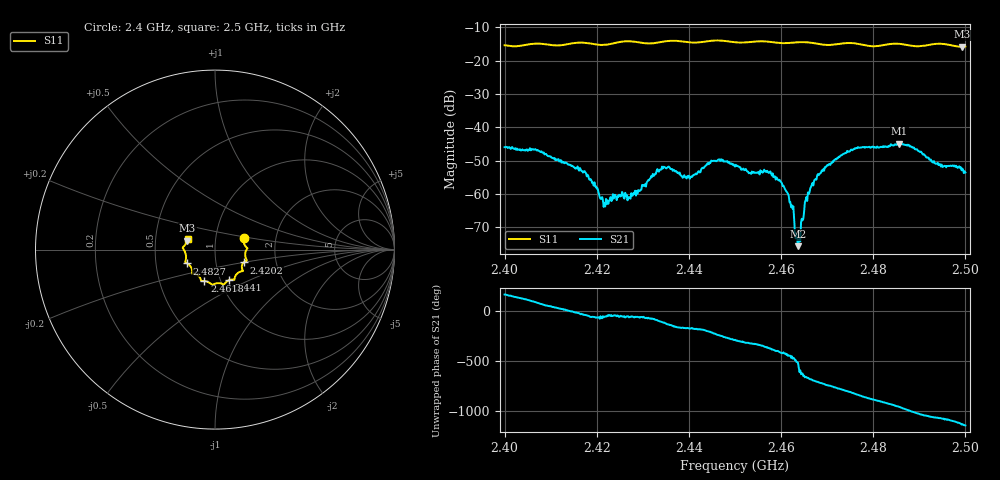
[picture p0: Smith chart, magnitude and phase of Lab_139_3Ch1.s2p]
# Hz S RI R 50
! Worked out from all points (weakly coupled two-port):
!   601 points, 2.4 GHz to 2.5 GHz, reference 50 ohm
!   highest |S21| = -44.84 dB at 2.4857 GHz (marker M1); lowest = -75.6 dB at 2.4637 GHz (marker M2)
!   lowest |S11| = -15.8 dB at 2.4993 GHz (marker M3), VSWR 1.39, Z = 36.5 + j3.8 ohm
!   |S11| at or under -10 dB: start of sweep to end of sweep
!   S12 and S22 are empty: the file has one direction only
!   S11 on the Smith chart (normalised r, x): 2.4 GHz: 1.36, +0.18; 2.4202 GHz: 1.36, -0.20; 2.441 GHz: 1.10, -0.39; 2.4618 GHz: 0.84, -0.30; 2.4827 GHz: 0.72, -0.12; 2.5 GHz: 0.73, +0.09
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2.4e9  0.159 0.0629  -0.00495 0.000967  0 0  0 0
2.407e9  0.1808 0.00858  0.00029 0.0045  0 0  0 0
2.416667e9  0.1775 -0.0609  0.00202 -0.00091  0 0  0 0
2.420167e9  0.1591 -0.0717  0.000575 -0.00107  0 0  0 0
2.422e9  0.1502 -0.0875  0.000532 -0.000657  0 0  0 0
2.427167e9  0.1554 -0.1193  0.000486 -0.000722  0 0  0 0
2.433333e9  0.1116 -0.1507  -0.000206 -0.00219  0 0  0 0
2.441e9  0.0788 -0.17  -0.00194 -0.000106  0 0  0 0
2.445333e9  0.0512 -0.194  -0.00232 0.00214  0 0  0 0
2.45e9  0.0287 -0.1874  0.000739 0.00248  0 0  0 0
2.457667e9  -0.023 -0.1905  0.00211 -0.000557  0 0  0 0
2.460167e9  -0.0425 -0.179  0.000742 -0.00125  0 0  0 0
2.461833e9  -0.0591 -0.1756  5.61e-05 -0.00075  0 0  0 0
2.463667e9  -0.0722 -0.1753  -0.000153 -6.16e-05  0 0  0 0
2.4655e9  -0.0771 -0.173  0.000487 0.000758  0 0  0 0
2.466667e9  -0.0788 -0.1683  0.00116 0.00072  0 0  0 0
2.473833e9  -0.1246 -0.1346  0.000871 -0.00398  0 0  0 0
2.482667e9  -0.1559 -0.0772  -0.00484 0.00191  0 0  0 0
2.483333e9  -0.1603 -0.0751  -0.00438 0.00262  0 0  0 0
2.485667e9  -0.1657 -0.0688  -0.00261 0.0051  0 0  0 0
2.499333e9  -0.1541 0.0507  0.00134 -0.00201  0 0  0 0
2.5e9  -0.1524 0.0602  0.000741 -0.00197  0 0  0 0
